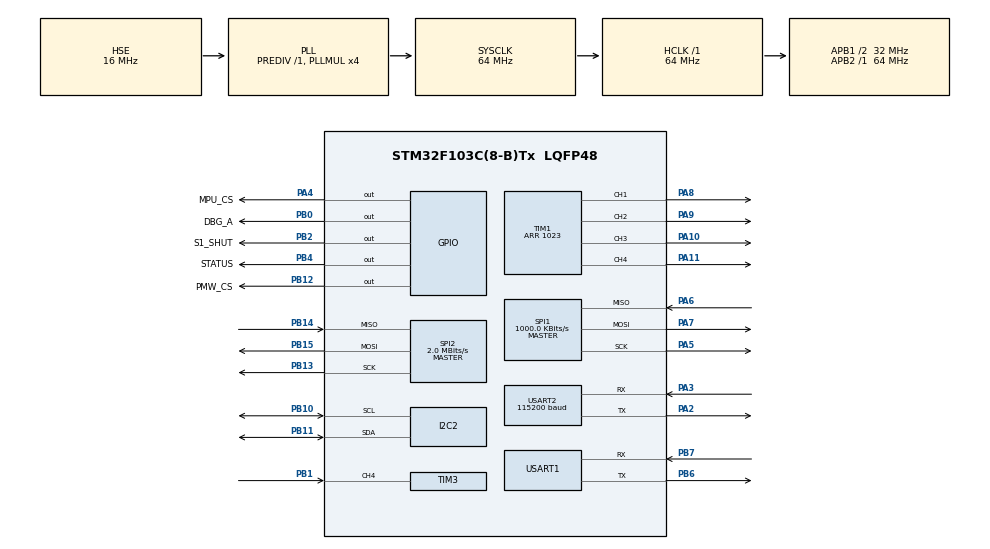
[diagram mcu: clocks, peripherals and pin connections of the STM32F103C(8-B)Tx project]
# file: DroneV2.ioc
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Dma.Request0=SPI1_RX
Dma.Request1=SPI1_TX
Dma.Request2=USART2_TX
Dma.Request3=USART2_RX
Dma.SPI1_RX.0.Direction=DMA_PERIPH_TO_MEMORY
Dma.SPI1_RX.0.Instance=DMA1_Channel2
Dma.SPI1_RX.0.MemDataAlignment=DMA_MDATAALIGN_BYTE
Dma.SPI1_RX.0.MemInc=DMA_MINC_ENABLE
Dma.SPI1_RX.0.Mode=DMA_NORMAL
Dma.SPI1_RX.0.PeriphDataAlignment=DMA_PDATAALIGN_BYTE
Dma.SPI1_RX.0.PeriphInc=DMA_PINC_DISABLE
Dma.SPI1_RX.0.Priority=DMA_PRIORITY_HIGH
Dma.SPI1_TX.1.Direction=DMA_MEMORY_TO_PERIPH
Dma.SPI1_TX.1.Instance=DMA1_Channel3
Dma.SPI1_TX.1.MemDataAlignment=DMA_MDATAALIGN_BYTE
Dma.SPI1_TX.1.MemInc=DMA_MINC_ENABLE
Dma.SPI1_TX.1.Mode=DMA_NORMAL
Dma.SPI1_TX.1.PeriphDataAlignment=DMA_PDATAALIGN_BYTE
Dma.SPI1_TX.1.PeriphInc=DMA_PINC_DISABLE
Dma.SPI1_TX.1.Priority=DMA_PRIORITY_HIGH
Dma.USART2_RX.3.Direction=DMA_PERIPH_TO_MEMORY
Dma.USART2_RX.3.Instance=DMA1_Channel6
Dma.USART2_RX.3.MemDataAlignment=DMA_MDATAALIGN_BYTE
Dma.USART2_RX.3.MemInc=DMA_MINC_ENABLE
Dma.USART2_RX.3.Mode=DMA_CIRCULAR
Dma.USART2_RX.3.PeriphDataAlignment=DMA_PDATAALIGN_BYTE
Dma.USART2_RX.3.PeriphInc=DMA_PINC_DISABLE
Dma.USART2_RX.3.Priority=DMA_PRIORITY_MEDIUM
Dma.USART2_TX.2.Direction=DMA_MEMORY_TO_PERIPH
Dma.USART2_TX.2.Instance=DMA1_Channel7
Dma.USART2_TX.2.MemDataAlignment=DMA_MDATAALIGN_BYTE
Dma.USART2_TX.2.MemInc=DMA_MINC_ENABLE
Dma.USART2_TX.2.Mode=DMA_NORMAL
Dma.USART2_TX.2.PeriphDataAlignment=DMA_PDATAALIGN_BYTE
Dma.USART2_TX.2.PeriphInc=DMA_PINC_DISABLE
Dma.USART2_TX.2.Priority=DMA_PRIORITY_LOW
Mcu.Family=STM32F1
Mcu.Name=STM32F103C(8-B)Tx
Mcu.Package=LQFP48
NVIC.DMA1_Channel2_IRQn=true\:0\:0\:false\:false\:true\:false
NVIC.DMA1_Channel3_IRQn=true\:0\:0\:false\:false\:true\:false
NVIC.DMA1_Channel6_IRQn=true\:2\:0\:true\:false\:true\:false
NVIC.DMA1_Channel7_IRQn=true\:2\:0\:true\:false\:true\:false
NVIC.PriorityGroup=NVIC_PRIORITYGROUP_4
NVIC.SPI1_IRQn=true\:0\:0\:false\:false\:true\:true
NVIC.TIM3_IRQn=true\:0\:0\:false\:false\:true\:true
NVIC.TIM4_IRQn=true\:1\:0\:true\:false\:true\:true
NVIC.USART2_IRQn=true\:2\:0\:true\:false\:true\:true
PA10.Signal=S_TIM1_CH3
PA11.Signal=S_TIM1_CH4
PA13.Mode=Serial_Wire
PA13.Signal=SYS_JTMS-SWDIO
PA14.Mode=Serial_Wire
PA14.Signal=SYS_JTCK-SWCLK
PA2.Mode=Asynchronous
PA2.Signal=USART2_TX
PA3.Mode=Asynchronous
PA3.Signal=USART2_RX
PA4.GPIO_Label=MPU_CS
PA4.GPIO_Speed=GPIO_SPEED_FREQ_HIGH
PA4.PinState=GPIO_PIN_SET
PA4.Signal=GPIO_Output
PA5.Mode=Full_Duplex_Master
PA5.Signal=SPI1_SCK
PA6.Mode=Full_Duplex_Master
PA6.Signal=SPI1_MISO
PA7.Mode=Full_Duplex_Master
PA7.Signal=SPI1_MOSI
PA8.Signal=S_TIM1_CH1
PA9.Signal=S_TIM1_CH2
PB0.GPIO_Label=DBG_A
PB0.GPIO_Speed=GPIO_SPEED_FREQ_HIGH
PB0.Signal=GPIO_Output
PB1.Signal=S_TIM3_CH4
PB10.Mode=I2C
PB10.Signal=I2C2_SCL
PB11.Mode=I2C
PB11.Signal=I2C2_SDA
PB12.GPIO_Label=PMW_CS
PB12.GPIO_Speed=GPIO_SPEED_FREQ_HIGH
PB12.PinState=GPIO_PIN_SET
PB12.Signal=GPIO_Output
PB13.Mode=Full_Duplex_Master
PB13.Signal=SPI2_SCK
PB14.Mode=Full_Duplex_Master
PB14.Signal=SPI2_MISO
PB15.Mode=Full_Duplex_Master
PB15.Signal=SPI2_MOSI
PB2.GPIO_Label=S1_SHUT
PB2.GPIO_ModeDefaultOutputPP=GPIO_MODE_OUTPUT_OD
PB2.GPIO_Speed=GPIO_SPEED_FREQ_HIGH
PB2.Signal=GPIO_Output
PB4.GPIO_Label=STATUS
PB4.Signal=GPIO_Output
PB6.Mode=Asynchronous
PB6.Signal=USART1_TX
PB7.Mode=Asynchronous
PB7.Signal=USART1_RX
PD0-OSC_IN.Mode=HSE-External-Oscillator
PD0-OSC_IN.Signal=RCC_OSC_IN
PD1-OSC_OUT.Mode=HSE-External-Oscillator
PD1-OSC_OUT.Signal=RCC_OSC_OUT
ProjectManager.HeapSize=0x200
ProjectManager.StackSize=0x400
ProjectManager.TargetToolchain=SW4STM32
RCC.AHBFreq_Value=64000000
RCC.APB1CLKDivider=RCC_HCLK_DIV2
RCC.APB1Freq_Value=32000000
RCC.APB1TimFreq_Value=64000000
RCC.APB2Freq_Value=64000000
RCC.APB2TimFreq_Value=64000000
RCC.HCLKFreq_Value=64000000
RCC.HSE_VALUE=16000000
RCC.PLLMUL=RCC_PLL_MUL4
RCC.PLLSourceVirtual=RCC_PLLSOURCE_HSE
RCC.SYSCLKFreq_VALUE=64000000
RCC.SYSCLKSource=RCC_SYSCLKSOURCE_PLLCLK
RCC.USBFreq_Value=64000000
SH.S_TIM1_CH1.0=TIM1_CH1,PWM Generation1 CH1
SH.S_TIM1_CH2.0=TIM1_CH2,PWM Generation2 CH2
SH.S_TIM1_CH3.0=TIM1_CH3,PWM Generation3 CH3
SH.S_TIM1_CH4.0=TIM1_CH4,PWM Generation4 CH4
SH.S_TIM3_CH4.0=TIM3_CH4,Input_Capture4_from_TI4
SPI1.BaudRatePrescaler=SPI_BAUDRATEPRESCALER_64
SPI1.CLKPhase=SPI_PHASE_2EDGE
SPI1.CLKPolarity=SPI_POLARITY_HIGH
SPI1.CalculateBaudRate=1000.0 KBits/s
SPI1.Direction=SPI_DIRECTION_2LINES
SPI1.Mode=SPI_MODE_MASTER
SPI1.VirtualType=VM_MASTER
SPI2.BaudRatePrescaler=SPI_BAUDRATEPRESCALER_16
SPI2.CLKPhase=SPI_PHASE_2EDGE
SPI2.CLKPolarity=SPI_POLARITY_HIGH
SPI2.CalculateBaudRate=2.0 MBits/s
SPI2.Direction=SPI_DIRECTION_2LINES
SPI2.Mode=SPI_MODE_MASTER
SPI2.VirtualType=VM_MASTER
TIM1.Channel-PWM\ Generation1\ CH1=TIM_CHANNEL_1
TIM1.Channel-PWM\ Generation2\ CH2=TIM_CHANNEL_2
TIM1.Channel-PWM\ Generation3\ CH3=TIM_CHANNEL_3
TIM1.Channel-PWM\ Generation4\ CH4=TIM_CHANNEL_4
TIM1.Period=1023
TIM3.Channel-Input_Capture4_from_TI4=TIM_CHANNEL_4
TIM3.Period=20000
TIM3.Prescaler=64
TIM4.Period=5000
TIM4.Prescaler=64
USART1.VirtualMode=VM_ASYNC
USART2.BaudRate=115200
USART2.VirtualMode=VM_ASYNC
VP_TIM1_VS_ClockSourceINT.Mode=Internal
VP_TIM3_VS_ClockSourceINT.Mode=Internal
VP_TIM4_VS_ClockSourceINT.Mode=Internal
board=DroneV2

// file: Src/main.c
/**
  ******************************************************************************
  * @file           : main.c
  * @brief          : Main program body
  ******************************************************************************
  ** This notice applies to any and all portions of this file
  * that are not between comment pairs USER CODE BEGIN and
  * USER CODE END. Other portions of this file, whether
  * inserted by the user or by software development tools
  * are owned by their respective copyright owners.
  *
  * COPYRIGHT(c) 2018 STMicroelectronics
  *
  * Redistribution and use in source and binary forms, with or without modification,
  * are permitted provided that the following conditions are met:
  *   1. Redistributions of source code must retain the above copyright notice,
  *      this list of conditions and the following disclaimer.
  *   2. Redistributions in binary form must reproduce the above copyright notice,
  *      this list of conditions and the following disclaimer in the documentation
  *      and/or other materials provided with the distribution.
  *   3. Neither the name of STMicroelectronics nor the names of its contributors
  *      may be used to endorse or promote products derived from this software
  *      without specific prior written permission.
  *
  * THIS SOFTWARE IS PROVIDED BY THE COPYRIGHT HOLDERS AND CONTRIBUTORS "AS IS"
  * AND ANY EXPRESS OR IMPLIED WARRANTIES, INCLUDING, BUT NOT LIMITED TO, THE
  * IMPLIED WARRANTIES OF MERCHANTABILITY AND FITNESS FOR A PARTICULAR PURPOSE ARE
  * DISCLAIMED. IN NO EVENT SHALL THE COPYRIGHT HOLDER OR CONTRIBUTORS BE LIABLE
  * FOR ANY DIRECT, INDIRECT, INCIDENTAL, SPECIAL, EXEMPLARY, OR CONSEQUENTIAL
  * DAMAGES (INCLUDING, BUT NOT LIMITED TO, PROCUREMENT OF SUBSTITUTE GOODS OR
  * SERVICES; LOSS OF USE, DATA, OR PROFITS; OR BUSINESS INTERRUPTION) HOWEVER
  * CAUSED AND ON ANY THEORY OF LIABILITY, WHETHER IN CONTRACT, STRICT LIABILITY,
  * OR TORT (INCLUDING NEGLIGENCE OR OTHERWISE) ARISING IN ANY WAY OUT OF THE USE
  * OF THIS SOFTWARE, EVEN IF ADVISED OF THE POSSIBILITY OF SUCH DAMAGE.
  *
  ******************************************************************************
  */
#include "main.h"
#include "stm32f1xx_hal.h"
#include "dma.h"
#include "i2c.h"
#include "spi.h"
#include "tim.h"
#include "usart.h"
#include "gpio.h"

/* USER CODE BEGIN Includes */
#include <string.h>
#include <math.h>
#include "vl53l0x.h"
#include "MPU9250.h"
#include "PMW3901.h"
#include "mavlink/standard/mavlink.h"
#include "mavlink/mavlink_helpers.h"

#define constrain(amt,low,high) ((amt)<(low)?(low):((amt)>(high)?(high):(amt)))
/* USER CODE END Includes */

/* USER CODE BEGIN PV */
/* Private variables ---------------------------------------------------------*/

/* USER CODE END PV */

void SystemClock_Config(void);

/* USER CODE BEGIN PFP */
/* Private function prototypes -----------------------------------------------*/

/* USER CODE END PFP */

/* USER CODE BEGIN 0 */
volatile float r_x = 0, r_y = 0, r_z = 0;
float pos_x = 0, pos_y = 0, pos_z = 0;
int16_t distance_front = 0, altitude = 0;

/*
 * RC Commands
 */
int16_t roll = 0, pitch = 0, yaw = 0, throttle = 0;
_Bool enabled = false;

/* USER CODE END 0 */

int main(void)
{

  /* MCU Configuration----------------------------------------------------------*/

  /* Reset of all peripherals, Initializes the Flash interface and the Systick. */
  HAL_Init();

  /* Configure the system clock */
  SystemClock_Config();

  /* Initialize all configured peripherals */
  MX_GPIO_Init();
  MX_DMA_Init();
  MX_USART1_UART_Init();
  MX_SPI1_Init();
  MX_USART2_UART_Init();
  MX_TIM1_Init();
  MX_I2C2_Init();
  MX_TIM4_Init();
  MX_SPI2_Init();
  MX_TIM3_Init();
  /* USER CODE BEGIN 2 */
	HAL_TIM_PWM_Start(&htim1, TIM_CHANNEL_1);
	HAL_TIM_PWM_Start(&htim1, TIM_CHANNEL_2);
	HAL_TIM_PWM_Start(&htim1, TIM_CHANNEL_3);
	HAL_TIM_PWM_Start(&htim1, TIM_CHANNEL_4);
	/*
	uint8_t bla[] = "started...\r\n";
	HAL_UART_Transmit(&huart1, bla, strlen(bla), 0xff);

	HAL_Delay(1000);
	char cmd1[] = "+++\r";
	char response1[2] = {0};
	HAL_UART_Transmit(&huart2, cmd1, strlen(cmd1), 0xff);
	HAL_UART_Receive(&huart2, response1, sizeof(response1), 0xff);
	HAL_UART_Transmit(&huart1, response1, strlen(response1), 0xff);
	HAL_Delay(1000);

	char cmd2[] = "ATS24=1\r";
	char response2[255] = {0};
	HAL_UART_Transmit(&huart2, cmd2, strlen(cmd2), 0xff);
	HAL_UART_Receive(&huart2, response2, sizeof(response2), 0xff);
	HAL_UART_Transmit(&huart1, response2, strlen(response2), 0xff);
	HAL_Delay(1000);

	char cmd5[] = "AT/C\r";
	char response5[255] = {0};
	HAL_UART_Transmit(&huart2, cmd5, strlen(cmd5), 0xff);
	HAL_UART_Receive(&huart2, response5, sizeof(response5), 0xff);
	HAL_UART_Transmit(&huart1, response5, strlen(response5), 0xff);
	HAL_Delay(1000);

	char cmd4[] = "AT/S\r";
	char response4[1024] = {0};
	HAL_UART_Transmit(&huart2, cmd4, strlen(cmd4), 0xff);
	HAL_UART_Receive(&huart2, response4, sizeof(response4), 0xff);
	HAL_UART_Transmit(&huart1, response4, strlen(response4), 0xff);
	HAL_Delay(1000);

	char cmd3[] = "ATO\r";
	char response3[255] = {0};
	HAL_UART_Transmit(&huart2, cmd3, strlen(cmd3), 0xff);
	HAL_UART_Receive(&huart2, response3, sizeof(response3), 0xff);
	HAL_UART_Transmit(&huart1, response3, strlen(response3), 0xff);

	uint8_t bla2[] = "finished.\r\n";
	HAL_UART_Transmit(&huart1, bla2, strlen(bla2), 0xff);*/
	/*
	HAL_Delay(1000);
	while(1) {
		char buffer[64] = {0};
		for(uint8_t i = 0; i < 64; i++) {
			memset(buffer, '.', i);
			uint8_t d = sprintf(buffer, "%d", i);
			buffer[i - 2] = '\r';
			buffer[i - 1] = '\n';
			HAL_UART_Transmit(&huart2, buffer, i, 0xff);
			HAL_Delay(20);
		}
	}*/
	HAL_Delay(5000);
	if (PMW3901_Init() == PMW_BROKEN_CONNECTION) {
		while (1) {
			HAL_GPIO_TogglePin(STATUS_GPIO_Port, STATUS_Pin);
			HAL_Delay(2000);
		}
	}
	distance_sensors_init();

	MPU9250_Init();
	MPU9250_ReadDataDMA();

	start_mavlink();

	/*
	 * Define PID banks
	 */
	rate_pitch_PID.KP = 1.0f;
	rate_roll_PID.KP = 1.0f;
	rate_yaw_PID.KP = 2.0f;

	//rate_pitch_PID.KI = 0.25f;
	//rate_roll_PID.KI = 0.25f;

	//rate_pitch_PID.KD = 0.25f;
	//rate_roll_PID.KD = 0.25f;

	angle_pitch_PID.KP = 3.0f;
	angle_roll_PID.KP = 3.0f;
	angle_pitch_PID.KI = 0.005f;
	angle_roll_PID.KI = 0.005f;

	uint32_t last_heartbeat = 0;
	uint32_t last_sensors_update = 0;
	uint32_t last_telemetry_update = 0;
	uint32_t last_distance_update = 0;
	HAL_GPIO_TogglePin(GPIOB, GPIO_PIN_4);
	HAL_TIM_IC_Start_IT(&htim3, TIM_CHANNEL_4);
	HAL_Delay(500);

  /* USER CODE END 2 */

  /* Infinite loop */
	while (1) {

  /* USER CODE BEGIN 3 */
		if (HAL_GetTick() - last_heartbeat > 1000 && __HAL_UART_GET_FLAG(&huart2, UART_FLAG_IDLE)) {
			uint8_t buffer[64] = {0};
			mavlink_message_t msg;
			mavlink_msg_heartbeat_pack(1, 100, &msg, MAV_TYPE_QUADROTOR,
					MAV_AUTOPILOT_GENERIC, MAV_MODE_FLAG_SAFETY_ARMED, 0,
					MAV_STATE_STANDBY);
			uint8_t len = mavlink_msg_to_send_buffer(buffer, &msg);
			HAL_UART_Transmit(&huart2, buffer, len, 0xff);
			last_heartbeat = HAL_GetTick();
		}
		if (HAL_GetTick() - last_telemetry_update > 100) {
			uint8_t buffer[64] = {0};
			mavlink_message_t msg;
			mavlink_msg_vision_position_estimate_pack(1, 100, &msg,
				HAL_GetTick(), pos_x, pos_y, altitude, r_y, r_x, r_z);
			uint16_t len = mavlink_msg_to_send_buffer(buffer, &msg);
			HAL_UART_Transmit(&huart2, buffer, len, 0xff);
			last_telemetry_update = HAL_GetTick();
		}
		if(HAL_GetTick() - last_distance_update > 100 && __HAL_UART_GET_FLAG(&huart2, UART_FLAG_IDLE)) {
			uint8_t buffer[64] = {0};
			mavlink_message_t msg;
			mavlink_msg_distance_sensor_pack(1, 100, &msg, HAL_GetTick(), 30,
					1500, distance_front, MAV_DISTANCE_SENSOR_LASER, 0,
					MAV_SENSOR_ROTATION_NONE, 0);
			uint16_t len = mavlink_msg_to_send_buffer(buffer, &msg);
			HAL_UART_Transmit(&huart2, buffer, len, 0xff);
			last_distance_update = HAL_GetTick();
		}
		if (HAL_GetTick() - last_sensors_update > 10) {
			int16_t deltaX, deltaY;
			//uint32_t dt = HAL_GetTick() - last_sensors_update;
			if (PMW_OK == PMW3901_Read_Motion(&deltaX, &deltaY)) {
				pos_x += deltaX;
				pos_y += deltaY;
			}
			distance_front = read_front();
			altitude = read_height();
			last_sensors_update = HAL_GetTick();
		}
	}
  /* USER CODE END 3 */

}

void SystemClock_Config(void)
{

  RCC_OscInitTypeDef RCC_OscInitStruct;
  RCC_ClkInitTypeDef RCC_ClkInitStruct;

    /**Initializes the CPU, AHB and APB busses clocks
    */
  RCC_OscInitStruct.OscillatorType = RCC_OSCILLATORTYPE_HSE;
  RCC_OscInitStruct.HSEState = RCC_HSE_ON;
  RCC_OscInitStruct.HSEPredivValue = RCC_HSE_PREDIV_DIV1;
  RCC_OscInitStruct.HSIState = RCC_HSI_ON;
  RCC_OscInitStruct.PLL.PLLState = RCC_PLL_ON;
  RCC_OscInitStruct.PLL.PLLSource = RCC_PLLSOURCE_HSE;
  RCC_OscInitStruct.PLL.PLLMUL = RCC_PLL_MUL4;
  if (HAL_RCC_OscConfig(&RCC_OscInitStruct) != HAL_OK)
  {
    _Error_Handler(__FILE__, __LINE__);
  }

    /**Initializes the CPU, AHB and APB busses clocks
    */
  RCC_ClkInitStruct.ClockType = RCC_CLOCKTYPE_HCLK|RCC_CLOCKTYPE_SYSCLK
                              |RCC_CLOCKTYPE_PCLK1|RCC_CLOCKTYPE_PCLK2;
  RCC_ClkInitStruct.SYSCLKSource = RCC_SYSCLKSOURCE_PLLCLK;
  RCC_ClkInitStruct.AHBCLKDivider = RCC_SYSCLK_DIV1;
  RCC_ClkInitStruct.APB1CLKDivider = RCC_HCLK_DIV2;
  RCC_ClkInitStruct.APB2CLKDivider = RCC_HCLK_DIV1;

  if (HAL_RCC_ClockConfig(&RCC_ClkInitStruct, FLASH_LATENCY_2) != HAL_OK)
  {
    _Error_Handler(__FILE__, __LINE__);
  }

    /**Configure the Systick interrupt time
    */
  HAL_SYSTICK_Config(HAL_RCC_GetHCLKFreq()/1000);

    /**Configure the Systick
    */
  HAL_SYSTICK_CLKSourceConfig(SYSTICK_CLKSOURCE_HCLK);

  /* SysTick_IRQn interrupt configuration */
  HAL_NVIC_SetPriority(SysTick_IRQn, 0, 0);
}

/* USER CODE BEGIN 4 */
float update_pid(PID *m_pid, float setpoint, float measurement) {
	float error = setpoint - measurement;

	float P = error * m_pid->KP;

	m_pid->_I += error;
	float I = m_pid->_I * m_pid->KI;

	if (m_pid->_I > m_pid->I_MAX)
		m_pid->_I = m_pid->I_MAX;
	if (m_pid->_I < -(m_pid->I_MAX))
		m_pid->_I = -(m_pid->I_MAX);

	float D = (error - m_pid->_D) * m_pid->KD;
	m_pid->_D = error;

	return P + I + D;
}

void HAL_TIM_PeriodElapsedCallback(TIM_HandleTypeDef *htim) {
	if (htim->Instance == TIM4) {
		DBG_A_GPIO_Port->ODR |= DBG_A_Pin;

		// runs every ARR (5000) microseconds
		float ay = atan2(MPU9250.acc.x,
				sqrt(pow(MPU9250.acc.y, 2) + pow(MPU9250.acc.z, 2)))
				* 180/ M_PI;
		float ax = atan2(MPU9250.acc.y,
				sqrt(pow(MPU9250.acc.x, 2) + pow(MPU9250.acc.z, 2)))
				* 180/ M_PI;

		// angles based on gyro (deg/s)
		r_x = r_x + MPU9250.gyro.x / 200.0f;
		r_y = r_y - MPU9250.gyro.y / 200.0f;
		r_z = r_z + MPU9250.gyro.z / 200.0f;

		// complementary filter
		// tau = DT*(A)/(1-A)
		// = 0.48sec
		r_x = r_x * 0.9f + ax * 0.1f;
		r_y = r_y * 0.9f + ay * 0.1f;

		float a_error_pitch = update_pid(&angle_pitch_PID, pitch, r_x);
		float a_error_roll = update_pid(&angle_roll_PID, roll, -r_y);

		float error_pitch = update_pid(&rate_pitch_PID, a_error_pitch, MPU9250.gyro.x);
		float error_roll = update_pid(&rate_roll_PID, a_error_roll, MPU9250.gyro.y);
		float error_yaw = update_pid(&rate_yaw_PID, yaw, MPU9250.gyro.z);

		float m1_out = throttle - error_pitch - error_roll + error_yaw;
		float m2_out = throttle - error_pitch + error_roll - error_yaw;
		float m3_out = throttle + error_pitch + error_roll + error_yaw;
		float m4_out = throttle + error_pitch - error_roll - error_yaw;

		m1_out = constrain(m1_out, 0, htim1.Instance->ARR);
		m2_out = constrain(m2_out, 0, htim1.Instance->ARR);
		m3_out = constrain(m3_out, 0, htim1.Instance->ARR);
		m4_out = constrain(m4_out, 0, htim1.Instance->ARR);

		if(enabled) {
			__HAL_TIM_SET_COMPARE(&htim1, TIM_CHANNEL_1, m1_out);
			__HAL_TIM_SET_COMPARE(&htim1, TIM_CHANNEL_2, m2_out);
			__HAL_TIM_SET_COMPARE(&htim1, TIM_CHANNEL_3, m3_out);
			__HAL_TIM_SET_COMPARE(&htim1, TIM_CHANNEL_4, m4_out);
		} else {
			__HAL_TIM_SET_COMPARE(&htim1, TIM_CHANNEL_1, 0);
			__HAL_TIM_SET_COMPARE(&htim1, TIM_CHANNEL_2, 0);
			__HAL_TIM_SET_COMPARE(&htim1, TIM_CHANNEL_3, 0);
			__HAL_TIM_SET_COMPARE(&htim1, TIM_CHANNEL_4, 0);
		}

		DBG_A_GPIO_Port->ODR &= ~DBG_A_Pin;
	}
}
/* USER CODE END 4 */

void _Error_Handler(char *file, int line)
{
	while (1) {
	}
}

/************************ (C) COPYRIGHT STMicroelectronics *****END OF FILE****/
